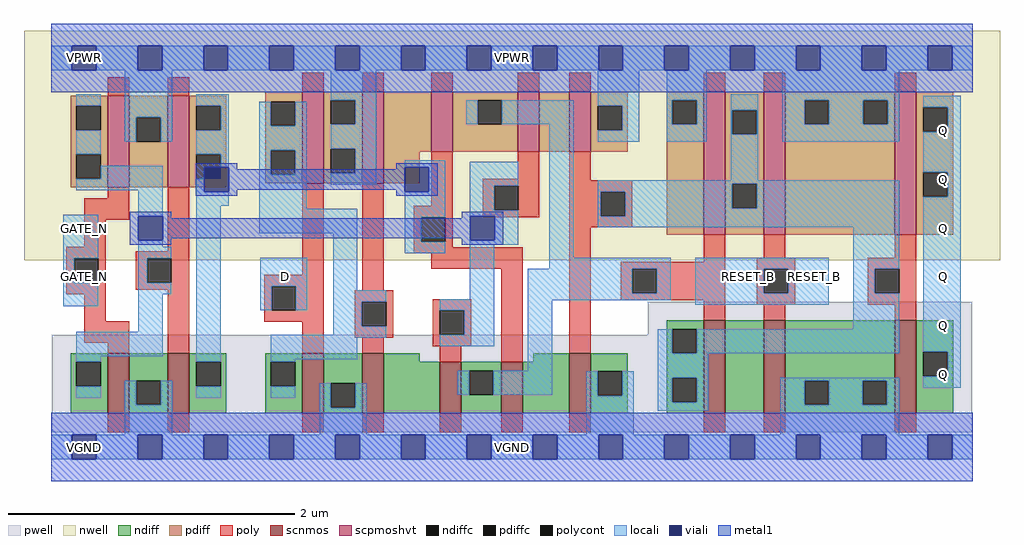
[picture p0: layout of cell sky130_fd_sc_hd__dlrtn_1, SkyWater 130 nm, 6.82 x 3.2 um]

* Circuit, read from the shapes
.subckt sky130_fd_sc_hd__dlrtn_1 D GATE_N RESET_B VGND VNB VPB VPWR Q
XM1 VGND GATE_N n1 VNB sky130_fd_pr__nfet_01v8 w=0.42 l=0.15
XM2 n2 n1 VGND VNB sky130_fd_pr__nfet_01v8 w=0.42 l=0.15
XM3 VGND D n3 VNB sky130_fd_pr__nfet_01v8 w=0.42 l=0.15
XM4 n4 n3 VGND VNB sky130_fd_pr__nfet_01v8 w=0.42 l=0.15
XM5 n5 n1 n4 VNB sky130_fd_pr__nfet_01v8 w=0.36 l=0.15
XM6 n6 n2 n5 VNB sky130_fd_pr__nfet_01v8 w=0.36 l=0.15
XM7 VGND n7 n6 VNB sky130_fd_pr__nfet_01v8 w=0.42 l=0.15
XM8 n8 n5 n7 VNB sky130_fd_pr__nfet_01v8 w=0.65 l=0.15
XM9 VGND RESET_B n8 VNB sky130_fd_pr__nfet_01v8 w=0.65 l=0.15
XM10 Q n7 VGND VNB sky130_fd_pr__nfet_01v8 w=0.65 l=0.15
XM11 VPWR GATE_N n1 VPB sky130_fd_pr__pfet_01v8_hvt w=0.64 l=0.15
XM12 n2 n1 VPWR VPB sky130_fd_pr__pfet_01v8_hvt w=0.64 l=0.15
XM13 VPWR D n3 VPB sky130_fd_pr__pfet_01v8_hvt w=0.64 l=0.15
XM14 n9 n3 VPWR VPB sky130_fd_pr__pfet_01v8_hvt w=0.64 l=0.15
XM15 n5 n2 n9 VPB sky130_fd_pr__pfet_01v8_hvt w=0.42 l=0.15
XM16 n10 n1 n5 VPB sky130_fd_pr__pfet_01v8_hvt w=0.42 l=0.15
XM17 VPWR n7 n10 VPB sky130_fd_pr__pfet_01v8_hvt w=0.42 l=0.15
XM18 n7 n5 VPWR VPB sky130_fd_pr__pfet_01v8_hvt w=1 l=0.15
XM19 VPWR RESET_B n7 VPB sky130_fd_pr__pfet_01v8_hvt w=1 l=0.15
XM20 Q n7 VPWR VPB sky130_fd_pr__pfet_01v8_hvt w=1 l=0.15
.ends

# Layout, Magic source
magic
tech sky130B
magscale 1 2
<< nwell >>
rect -38 261 1326 582
<< pwell >>
rect 834 157 1287 203
rect 1 21 1287 157
rect 30 -17 64 21
<< scnmos >>
rect 79 47 109 131
rect 163 47 193 131
rect 351 47 381 131
rect 435 47 465 131
rect 543 47 573 119
rect 629 47 659 119
rect 724 47 754 131
rect 912 47 942 177
rect 996 47 1026 177
rect 1179 47 1209 177
<< scpmoshvt >>
rect 79 363 109 491
rect 163 363 193 491
rect 351 369 381 497
rect 435 369 465 497
rect 531 413 561 497
rect 652 413 682 497
rect 724 413 754 497
rect 912 297 942 497
rect 996 297 1026 497
rect 1179 297 1209 497
<< ndiff >>
rect 27 119 79 131
rect 27 85 35 119
rect 69 85 79 119
rect 27 47 79 85
rect 109 93 163 131
rect 109 59 119 93
rect 153 59 163 93
rect 109 47 163 59
rect 193 119 245 131
rect 193 85 203 119
rect 237 85 245 119
rect 193 47 245 85
rect 299 119 351 131
rect 299 85 307 119
rect 341 85 351 119
rect 299 47 351 85
rect 381 89 435 131
rect 381 55 391 89
rect 425 55 435 89
rect 381 47 435 55
rect 465 119 515 131
rect 860 165 912 177
rect 860 131 868 165
rect 902 131 912 165
rect 674 119 724 131
rect 465 47 543 119
rect 573 107 629 119
rect 573 73 584 107
rect 618 73 629 107
rect 573 47 629 73
rect 659 47 724 119
rect 754 106 806 131
rect 754 72 764 106
rect 798 72 806 106
rect 754 47 806 72
rect 860 97 912 131
rect 860 63 868 97
rect 902 63 912 97
rect 860 47 912 63
rect 942 47 996 177
rect 1026 93 1179 177
rect 1026 59 1053 93
rect 1087 59 1134 93
rect 1168 59 1179 93
rect 1026 47 1179 59
rect 1209 133 1261 177
rect 1209 99 1219 133
rect 1253 99 1261 133
rect 1209 47 1261 99
<< pdiff >>
rect 27 477 79 491
rect 27 443 35 477
rect 69 443 79 477
rect 27 409 79 443
rect 27 375 35 409
rect 69 375 79 409
rect 27 363 79 375
rect 109 461 163 491
rect 109 427 119 461
rect 153 427 163 461
rect 109 363 163 427
rect 193 477 245 491
rect 193 443 203 477
rect 237 443 245 477
rect 193 409 245 443
rect 193 375 203 409
rect 237 375 245 409
rect 193 363 245 375
rect 299 483 351 497
rect 299 449 307 483
rect 341 449 351 483
rect 299 415 351 449
rect 299 381 307 415
rect 341 381 351 415
rect 299 369 351 381
rect 381 485 435 497
rect 381 451 391 485
rect 425 451 435 485
rect 381 417 435 451
rect 381 383 391 417
rect 425 383 435 417
rect 381 369 435 383
rect 465 413 531 497
rect 561 485 652 497
rect 561 451 596 485
rect 630 451 652 485
rect 561 413 652 451
rect 682 413 724 497
rect 754 477 806 497
rect 754 443 764 477
rect 798 443 806 477
rect 754 413 806 443
rect 860 485 912 497
rect 860 451 868 485
rect 902 451 912 485
rect 465 369 515 413
rect 860 297 912 451
rect 942 471 996 497
rect 942 437 952 471
rect 986 437 996 471
rect 942 368 996 437
rect 942 334 952 368
rect 986 334 996 368
rect 942 297 996 334
rect 1026 485 1179 497
rect 1026 451 1053 485
rect 1087 451 1135 485
rect 1169 451 1179 485
rect 1026 297 1179 451
rect 1209 475 1261 497
rect 1209 441 1219 475
rect 1253 441 1261 475
rect 1209 384 1261 441
rect 1209 350 1219 384
rect 1253 350 1261 384
rect 1209 297 1261 350
<< ndiffc >>
rect 35 85 69 119
rect 119 59 153 93
rect 203 85 237 119
rect 307 85 341 119
rect 391 55 425 89
rect 868 131 902 165
rect 584 73 618 107
rect 764 72 798 106
rect 868 63 902 97
rect 1053 59 1087 93
rect 1134 59 1168 93
rect 1219 99 1253 133
<< pdiffc >>
rect 35 443 69 477
rect 35 375 69 409
rect 119 427 153 461
rect 203 443 237 477
rect 203 375 237 409
rect 307 449 341 483
rect 307 381 341 415
rect 391 451 425 485
rect 391 383 425 417
rect 596 451 630 485
rect 764 443 798 477
rect 868 451 902 485
rect 952 437 986 471
rect 952 334 986 368
rect 1053 451 1087 485
rect 1135 451 1169 485
rect 1219 441 1253 475
rect 1219 350 1253 384
<< poly >>
rect 79 491 109 517
rect 163 491 193 517
rect 351 497 381 523
rect 435 497 465 523
rect 531 497 561 523
rect 652 497 682 523
rect 724 497 754 523
rect 912 497 942 523
rect 996 497 1026 523
rect 1179 497 1209 523
rect 79 348 109 363
rect 46 318 109 348
rect 46 280 76 318
rect 21 264 76 280
rect 163 274 193 363
rect 21 230 32 264
rect 66 230 76 264
rect 21 214 76 230
rect 118 264 193 274
rect 118 230 134 264
rect 168 230 193 264
rect 351 241 381 369
rect 118 220 193 230
rect 46 176 76 214
rect 46 146 109 176
rect 79 131 109 146
rect 163 131 193 220
rect 298 225 381 241
rect 298 191 308 225
rect 342 191 381 225
rect 435 219 465 369
rect 531 337 561 413
rect 652 375 682 413
rect 507 321 561 337
rect 603 365 682 375
rect 603 331 619 365
rect 653 331 682 365
rect 603 321 682 331
rect 724 373 754 413
rect 724 357 812 373
rect 724 323 768 357
rect 802 323 812 357
rect 507 287 517 321
rect 551 287 561 321
rect 507 279 561 287
rect 724 307 812 323
rect 507 271 659 279
rect 531 249 659 271
rect 298 175 381 191
rect 351 131 381 175
rect 424 203 478 219
rect 424 169 434 203
rect 468 169 478 203
rect 424 153 478 169
rect 533 191 587 207
rect 533 157 543 191
rect 577 157 587 191
rect 435 131 465 153
rect 533 141 587 157
rect 543 119 573 141
rect 629 119 659 249
rect 724 131 754 307
rect 912 259 942 297
rect 996 265 1026 297
rect 1179 265 1209 297
rect 796 249 942 259
rect 796 215 812 249
rect 846 215 942 249
rect 796 205 942 215
rect 912 177 942 205
rect 986 249 1040 265
rect 986 215 996 249
rect 1030 215 1040 249
rect 986 199 1040 215
rect 1141 249 1209 265
rect 1141 215 1151 249
rect 1185 215 1209 249
rect 1141 199 1209 215
rect 996 177 1026 199
rect 1179 177 1209 199
rect 79 21 109 47
rect 163 21 193 47
rect 351 21 381 47
rect 435 21 465 47
rect 543 21 573 47
rect 629 21 659 47
rect 724 21 754 47
rect 912 21 942 47
rect 996 21 1026 47
rect 1179 21 1209 47
<< polycont >>
rect 32 230 66 264
rect 134 230 168 264
rect 308 191 342 225
rect 619 331 653 365
rect 768 323 802 357
rect 517 287 551 321
rect 434 169 468 203
rect 543 157 577 191
rect 812 215 846 249
rect 996 215 1030 249
rect 1151 215 1185 249
<< locali >>
rect 0 527 29 561
rect 63 527 121 561
rect 155 527 213 561
rect 247 527 305 561
rect 339 527 397 561
rect 431 527 489 561
rect 523 527 581 561
rect 615 527 673 561
rect 707 527 765 561
rect 799 527 857 561
rect 891 527 949 561
rect 983 527 1041 561
rect 1075 527 1133 561
rect 1167 527 1225 561
rect 1259 527 1288 561
rect 35 477 69 493
rect 35 409 69 443
rect 103 461 169 527
rect 103 427 119 461
rect 153 427 169 461
rect 203 477 248 493
rect 391 485 454 527
rect 237 443 248 477
rect 203 409 248 443
rect 69 375 156 393
rect 35 359 156 375
rect 17 264 66 325
rect 17 230 32 264
rect 17 197 66 230
rect 122 323 156 359
rect 122 280 156 289
rect 237 391 248 409
rect 203 357 214 375
rect 203 337 248 357
rect 291 449 307 483
rect 341 449 357 483
rect 291 415 357 449
rect 291 381 307 415
rect 341 381 357 415
rect 122 264 168 280
rect 122 230 134 264
rect 122 214 168 230
rect 122 161 156 214
rect 35 127 156 161
rect 35 119 69 127
rect 203 119 237 337
rect 291 333 357 381
rect 425 451 454 485
rect 580 451 596 485
rect 630 451 730 485
rect 391 417 454 451
rect 425 383 454 417
rect 391 367 454 383
rect 494 391 551 401
rect 528 357 551 391
rect 291 299 428 333
rect 292 225 358 265
rect 292 191 308 225
rect 342 191 358 225
rect 394 219 428 299
rect 494 321 551 357
rect 494 287 517 321
rect 494 271 551 287
rect 585 365 653 399
rect 585 331 619 365
rect 585 323 653 331
rect 585 289 586 323
rect 620 289 653 323
rect 585 283 653 289
rect 394 203 468 219
rect 585 207 619 283
rect 696 265 730 451
rect 764 477 822 527
rect 798 443 822 477
rect 764 427 822 443
rect 860 485 916 527
rect 860 451 868 485
rect 902 451 916 485
rect 860 427 916 451
rect 950 471 988 493
rect 950 437 952 471
rect 986 437 988 471
rect 950 373 988 437
rect 1022 485 1185 527
rect 1022 451 1053 485
rect 1087 451 1135 485
rect 1169 451 1185 485
rect 1022 427 1185 451
rect 1219 475 1271 491
rect 1253 441 1271 475
rect 1219 384 1271 441
rect 764 368 1185 373
rect 764 357 952 368
rect 764 323 768 357
rect 802 334 952 357
rect 986 334 1185 368
rect 802 323 1185 334
rect 764 307 1185 323
rect 696 249 866 265
rect 394 169 434 203
rect 394 157 468 169
rect 35 69 69 85
rect 103 59 119 93
rect 153 59 169 93
rect 203 69 237 85
rect 307 153 468 157
rect 543 191 619 207
rect 577 157 619 191
rect 307 123 428 153
rect 543 141 619 157
rect 666 215 812 249
rect 846 215 866 249
rect 666 205 866 215
rect 900 249 1087 265
rect 900 215 996 249
rect 1030 215 1087 249
rect 307 119 341 123
rect 666 107 700 205
rect 900 199 1087 215
rect 1121 249 1185 307
rect 1121 215 1151 249
rect 1121 165 1185 215
rect 307 69 341 85
rect 103 17 169 59
rect 375 55 391 89
rect 425 55 441 89
rect 568 73 584 107
rect 618 73 700 107
rect 848 131 868 165
rect 902 131 1185 165
rect 1253 350 1271 384
rect 1219 133 1271 350
rect 375 17 441 55
rect 748 72 764 106
rect 798 72 814 106
rect 748 17 814 72
rect 848 97 918 131
rect 1253 99 1271 133
rect 848 63 868 97
rect 902 63 918 97
rect 848 51 918 63
rect 1019 93 1185 97
rect 1019 59 1053 93
rect 1087 59 1134 93
rect 1168 59 1185 93
rect 1219 83 1271 99
rect 1019 17 1185 59
rect 0 -17 29 17
rect 63 -17 121 17
rect 155 -17 213 17
rect 247 -17 305 17
rect 339 -17 397 17
rect 431 -17 489 17
rect 523 -17 581 17
rect 615 -17 673 17
rect 707 -17 765 17
rect 799 -17 857 17
rect 891 -17 949 17
rect 983 -17 1041 17
rect 1075 -17 1133 17
rect 1167 -17 1225 17
rect 1259 -17 1288 17
<< viali >>
rect 29 527 63 561
rect 121 527 155 561
rect 213 527 247 561
rect 305 527 339 561
rect 397 527 431 561
rect 489 527 523 561
rect 581 527 615 561
rect 673 527 707 561
rect 765 527 799 561
rect 857 527 891 561
rect 949 527 983 561
rect 1041 527 1075 561
rect 1133 527 1167 561
rect 1225 527 1259 561
rect 122 289 156 323
rect 214 375 237 391
rect 237 375 248 391
rect 214 357 248 375
rect 494 357 528 391
rect 586 289 620 323
rect 29 -17 63 17
rect 121 -17 155 17
rect 213 -17 247 17
rect 305 -17 339 17
rect 397 -17 431 17
rect 489 -17 523 17
rect 581 -17 615 17
rect 673 -17 707 17
rect 765 -17 799 17
rect 857 -17 891 17
rect 949 -17 983 17
rect 1041 -17 1075 17
rect 1133 -17 1167 17
rect 1225 -17 1259 17
<< metal1 >>
rect 0 561 1288 592
rect 0 527 29 561
rect 63 527 121 561
rect 155 527 213 561
rect 247 527 305 561
rect 339 527 397 561
rect 431 527 489 561
rect 523 527 581 561
rect 615 527 673 561
rect 707 527 765 561
rect 799 527 857 561
rect 891 527 949 561
rect 983 527 1041 561
rect 1075 527 1133 561
rect 1167 527 1225 561
rect 1259 527 1288 561
rect 0 496 1288 527
rect 202 391 260 397
rect 202 357 214 391
rect 248 388 260 391
rect 482 391 540 397
rect 482 388 494 391
rect 248 360 494 388
rect 248 357 260 360
rect 202 351 260 357
rect 482 357 494 360
rect 528 357 540 391
rect 482 351 540 357
rect 110 323 168 329
rect 110 289 122 323
rect 156 320 168 323
rect 574 323 632 329
rect 574 320 586 323
rect 156 292 586 320
rect 156 289 168 292
rect 110 283 168 289
rect 574 289 586 292
rect 620 289 632 323
rect 574 283 632 289
rect 0 17 1288 48
rect 0 -17 29 17
rect 63 -17 121 17
rect 155 -17 213 17
rect 247 -17 305 17
rect 339 -17 397 17
rect 431 -17 489 17
rect 523 -17 581 17
rect 615 -17 673 17
rect 707 -17 765 17
rect 799 -17 857 17
rect 891 -17 949 17
rect 983 -17 1041 17
rect 1075 -17 1133 17
rect 1167 -17 1225 17
rect 1259 -17 1288 17
rect 0 -48 1288 -17
<< labels >>
flabel locali s 958 221 992 255 0 FreeSans 200 0 0 0 RESET_B
port 3 nsew signal input
flabel locali s 1050 221 1084 255 0 FreeSans 200 0 0 0 RESET_B
port 3 nsew signal input
flabel locali s 1230 153 1264 187 0 FreeSans 200 0 0 0 Q
port 8 nsew signal output
flabel locali s 1230 221 1264 255 0 FreeSans 200 0 0 0 Q
port 8 nsew signal output
flabel locali s 310 221 344 255 0 FreeSans 200 0 0 0 D
port 1 nsew signal input
flabel locali s 30 221 64 255 0 FreeSans 200 0 0 0 GATE_N
port 2 nsew clock input
flabel locali s 1230 357 1264 391 0 FreeSans 200 0 0 0 Q
port 8 nsew signal output
flabel locali s 30 289 64 323 0 FreeSans 200 0 0 0 GATE_N
port 2 nsew clock input
flabel locali s 1230 425 1264 459 0 FreeSans 200 0 0 0 Q
port 8 nsew signal output
flabel locali s 1230 85 1264 119 0 FreeSans 200 0 0 0 Q
port 8 nsew signal output
flabel locali s 1230 289 1264 323 0 FreeSans 200 0 0 0 Q
port 8 nsew signal output
flabel metal1 s 30 -17 64 17 0 FreeSans 200 0 0 0 VGND
port 4 nsew ground bidirectional abutment
flabel metal1 s 30 527 64 561 0 FreeSans 200 0 0 0 VPWR
port 7 nsew power bidirectional abutment
flabel metal1 s 46 0 46 0 0 FreeSans 200 0 0 0 VGND
flabel metal1 s 47 544 47 544 0 FreeSans 200 0 0 0 VPWR
flabel nwell s 30 527 64 561 0 FreeSans 200 0 0 0 VPB
port 6 nsew power bidirectional
flabel nwell s 47 544 47 544 0 FreeSans 200 0 0 0 VPB
flabel nwell s 47 544 47 544 0 FreeSans 200 0 0 0 VPB
flabel pwell s 30 -17 64 17 0 FreeSans 200 0 0 0 VNB
port 5 nsew ground bidirectional
flabel pwell s 47 0 47 0 0 FreeSans 200 0 0 0 VNB
flabel pwell s 47 0 47 0 0 FreeSans 200 0 0 0 VNB
rlabel comment s 0 0 0 0 4 dlrtn_1
rlabel metal1 s 0 -48 1288 48 1 VGND
port 4 nsew ground bidirectional abutment
rlabel metal1 s 0 496 1288 592 1 VPWR
port 7 nsew power bidirectional abutment
<< properties >>
string FIXED_BBOX 0 0 1288 544
string GDS_END 2708148
string GDS_FILE $PDKPATH/libs.ref/sky130_fd_sc_hd/gds/sky130_fd_sc_hd.gds
string GDS_START 2696568
string LEFclass CORE
string LEFsite unithd
string LEFsymmetry X Y R90
<< end >>
